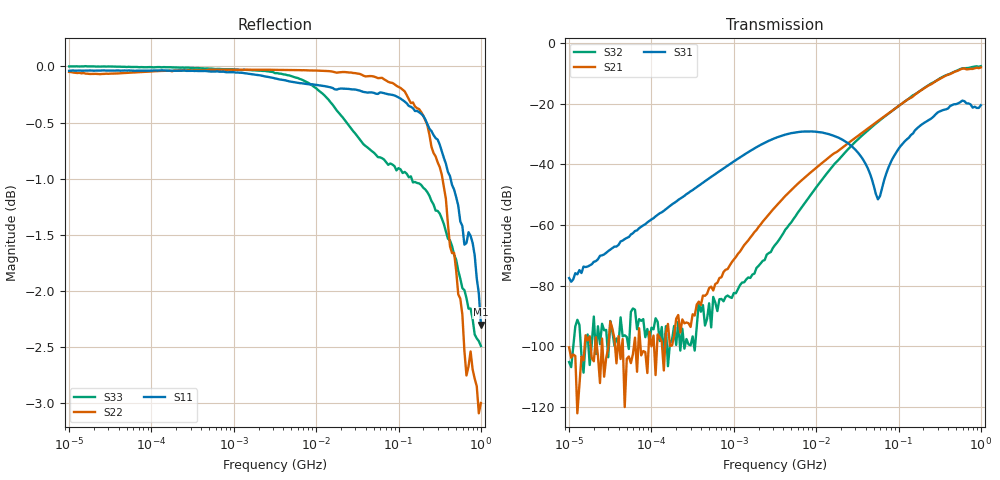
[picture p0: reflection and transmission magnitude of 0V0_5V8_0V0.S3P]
!Keysight Technologies,E5080A,MY55100144,A.11.70.03
!Date: Monday, November 13, 2017 17:25:44
!Correction: S11(Full 3 Port(1,2,3))
!S12(Full 3 Port(1,2,3))
!S13(Full 3 Port(1,2,3))
!S21(Full 3 Port(1,2,3))
!S22(Full 3 Port(1,2,3))
!S23(Full 3 Port(1,2,3))
!S31(Full 3 Port(1,2,3))
!S32(Full 3 Port(1,2,3))
!S33(Full 3 Port(1,2,3))
!S3P File: Measurements: <S11,S12,S13>,
!<S21,S22,S23>,
!<S31,S32,S33>:Log Frequency Sweep
# Hz S  RI  R 50
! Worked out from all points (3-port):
!   201 points, 10 kHz to 1 GHz, reference 50 ohm
!   strongest paths, dB at 10 kHz, 177.8 kHz, 3.162 MHz, 56.23 MHz, 1 GHz:
!     S31: -77.5, -53.2, -31.3, -51.5, -20.5
!     S21: -100.4, -99.7, -54.1, -25.7, -8.0
!     S32: -105.2, -97.7, -66.6, -26.0, -7.6
!   lowest |S11| = -2.3 dB at 1 GHz (marker M1), VSWR 7.61, Z = 380 - j0.246 ohm
!   |S11| at or under -10 dB: nowhere
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10000  0.9954 -0.00561  1.7e-05 -4.89e-08  4.4e-06 0.000142
       9.57e-06 4.4e-07  0.4708 -0.8758  -1.19e-06 1.95e-05
       -1.3e-05 0.000133  6.51e-07 5.45e-06  0.9999 -0.00235
50118.72  0.9953 -0.0275  2.41e-06 -1.15e-05  2.03e-05 0.000621
          2.25e-07 6.2e-06  -0.7915 -0.6002  -1.63e-06 5.16e-06
          1.64e-05 0.000613  -1.07e-05 9.41e-06  0.9993 -0.00571
562341.3  0.9488 -0.2987  -8.11e-05 4.7e-05  0.00143 0.00641
          -6.72e-05 4.93e-05  -0.9949 -0.0576  -1.51e-05 1.94e-05
          0.00141 0.00642  -4.06e-05 5.1e-05  0.9961 -0.0543
3162278  0.1404 -0.9777  -0.00133 0.00145  0.0207 0.0175
         -0.00132 0.00146  -0.9964 0.0047  -0.000405 0.000229
         0.0208 0.0174  -0.000407 0.000229  0.9501 -0.289
2.113489e7  -0.9404 -0.2667  -0.00131 0.0192  0.0203 -0.0151
            -0.00128 0.0192  -0.9894 0.0979  -0.00856 0.0115
            0.0203 -0.0151  -0.00859 0.0115  -0.0178 -0.9486
5.623413e7  -0.9708 0.0519  0.00878 0.0511  0.00267 0.000147
            0.00889 0.0511  -0.9536 0.2586  -0.00538 0.0499
            0.00265 0.000147  -0.00533 0.05  -0.7611 -0.501
1.059254e8  -0.9335 0.2543  0.0375 0.0895  0.00773 0.0184
            0.0376 0.0896  -0.8608 0.4644  0.023 0.0945
            0.00776 0.0185  0.023 0.0944  -0.8952 -0.0912
3.758374e8  -0.3695 0.8263  0.29 0.0335  0.0806 -0.00598
            0.2901 0.0334  0.0972 0.8677  0.29 0.0577
            0.0807 -0.0059  0.2898 0.0577  -0.4866 0.69
7.079458e8  0.4629 0.7054  0.2 -0.3132  0.0116 -0.1006
            0.1997 -0.3134  0.6997 0.2262  0.2464 -0.3023
            0.0119 -0.1008  0.2467 -0.3019  0.2574 0.7365
1e9  0.7676 -0.000133  -0.1001 -0.3853  -0.0569 -0.0756
     -0.1005 -0.3851  0.5908 -0.3907  -0.046 -0.4146
     -0.0571 -0.0755  -0.0458 -0.4147  0.6824 0.3132
